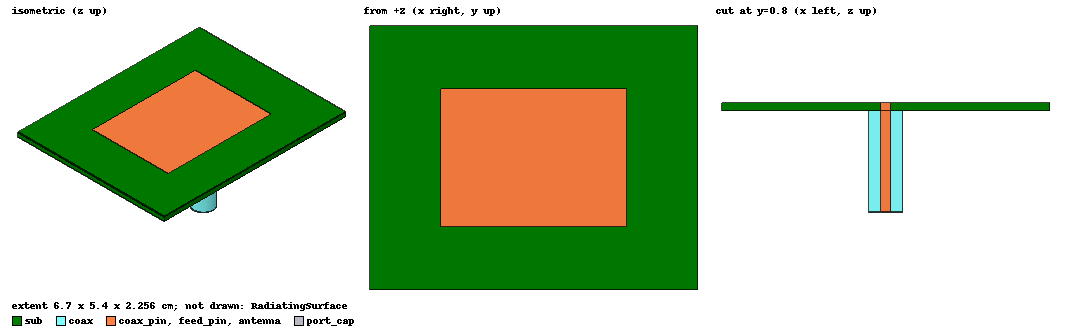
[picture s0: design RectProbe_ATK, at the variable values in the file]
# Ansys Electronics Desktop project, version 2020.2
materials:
  vacuum: permittivity=1
  FR4_epoxy: permittivity=4.4 dielectric_loss_tangent=0.02
  pec: conductivity=1e+30
  Teflon (tm): permittivity=2.1 dielectric_loss_tangent=0.001

design RectProbe_ATK (HFSS, DrivenTerminal, model units cm)
options: Allow_Material_Override open_region{BoundaryType=0 OpFreq=2.4GHz}
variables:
  # --Antenna Dimensions
  patchX = 3.8cm
  patchY = 2.8cm
  # --Substrate Dimensions
  subH = 0.16cm
  subX = 6.7cm
  subY = 5.4cm
  # --Feed Dimensions
  feedX = 0cm
  feedY = 0.8cm
  coax_inner_rad = 0.104cm
  coax_outer_rad = 0.354cm
  feedLength = 2.08cm
  design_freq = 2.4GHz
  gnd_x = subX
  gnd_y = subY
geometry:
  sub [FR4_epoxy] = box(corner=(-subX/2, -subY/2, 0cm), size=(subX, subY, subH))
  Ground = rectangle(corner=(-gnd_x/2, -gnd_y/2, 0cm), x_size=gnd_x, y_size=gnd_y)
  antenna = rectangle(corner=(-patchX/2, -patchY/2, subH), x_size=patchX, y_size=patchY)
  NewObject_AW1PJO = circle(normal=Z, centre=(feedX, feedY, 0cm), radius=coax_outer_rad)
  Ground.subtract(NewObject_AW1PJO)
  feed_pin [pec] = cylinder(axis=Z, base_centre=(feedX, feedY, 0cm), radius=coax_inner_rad, height=subH)
  coax_pin [pec] = cylinder(axis=Z, base_centre=(feedX, feedY, 0cm), radius=coax_inner_rad, height=-feedLength)
  coax [Teflon (tm)] = cylinder(axis=Z, base_centre=(feedX, feedY, 0cm), radius=coax_outer_rad, height=-feedLength)
  port_cap [pec] = cylinder(axis=Z, base_centre=(feedX, feedY, -feedLength), radius=coax_outer_rad, height=-subH/10)
  port1 = circle(normal=Z, centre=(feedX, feedY, -feedLength), radius=coax_outer_rad)
  RadiatingSurface [vacuum] = region(absolute_offset=4.1666667cm on all sides)
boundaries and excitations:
  antennaMetal: Perfect E Objects=antenna
  coax_outer: Perfect E Faces=coax.face(1 of 3)
  groundMetal: Perfect E Objects=Ground
  AutoOpen1: Radiation Objects=RadiatingSurface
  coax_pin_T1: Terminal port=1 Faces=coax_pin.face(2 of 3) TerminalResistance=50ohm
  1: Wave Port Faces=port1.face NumModes=1
  reference conductors: port_cap
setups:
  ATK_Solution: HfssDriven Frequency=2.4GHz MaxDeltaS=0.02 MaximumPasses=15 MinimumPasses=1 MinimumConvergedPasses=1 PercentRefinement=30 BasisOrder=1 PortAccuracy=2 IESolverType=ACA
    sweep FF_Sweep: point 2.4GHz; Type=Discrete SaveFields
    sweep SParam_Sweep: 1.2GHz to 3.6GHz, 301 points; Type=Interpolating InterpTolerance=0.5 InterpMaxSolns=250 PassivityErrorTolerance=0.0001
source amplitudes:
  1:1: 1V 0deg
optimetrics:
  ParametricSetup1: Parametric Sim._Setups=[ATK_Solution]
    sweep patchX: LIN 3.5cm 4cm 0.1cm
  ParametricSetup2: Parametric Sim._Setups=[ATK_Solution]
    sweep patchY: LIN 2.7cm 3.1cm 0.1cm
  ParametricSetup3: Parametric Sim._Setups=[ATK_Solution]
    sweep feedY: LIN 0.5cm 1.3cm 0.1cm
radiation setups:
  3D: Infinite Sphere Theta=0deg..180deg step 2deg Phi=-180deg..180deg step 2deg
  Elevation: Infinite Sphere Theta=-180deg..180deg step 1deg Phi=0deg..90deg step 90deg
  Azimuth: Infinite Sphere Theta=90deg..90deg step 0deg Phi=-180deg..180deg step 1deg
  ATK_2D: Infinite Sphere Theta=-180deg..180deg step 1deg Phi=0deg..90deg step 90deg
  ATK_3D: Infinite Sphere Theta=-180deg..180deg step 2deg Phi=0deg..180deg step 5deg
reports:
  ff_3D_GainTotal: dB(GainTotal) vs Phi, Theta on ATK_Solution : LastAdaptive, ATK_3D [Freq=2.4e+09]
  ff_2D_GainTotal: dB(GainTotal) vs Theta on ATK_Solution : FF_Sweep, ATK_2D [Phi=all Freq=2.4GHz]
  ff_2D_GainTotal_Stacked: dB(GainTotal) vs Theta on ATK_Solution : FF_Sweep, ATK_2D [Phi=all Freq=all]
  Return Loss: dB(St11) vs Freq on ATK_Solution : SParam_Sweep; markers m1 at 2.448GHz
  Input Impedance: St11 on ATK_Solution : SParam_Sweep [Freq=all]; markers m1 at 2.4GHz
  Axial Ratio Plot 1: dB(AxialRatioValue) vs Theta on ATK_Solution : FF_Sweep, 3D [Phi=-90deg,0deg,90deg,180deg Freq=2.4GHz]
